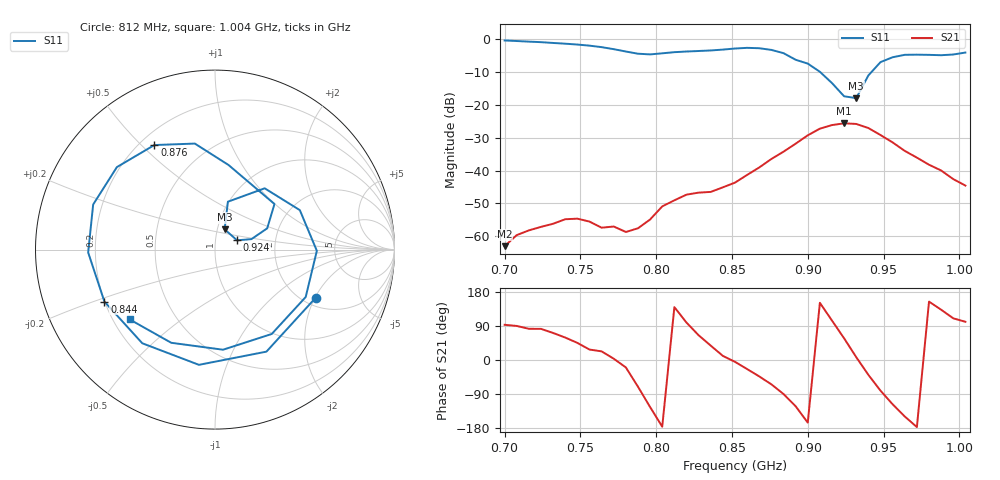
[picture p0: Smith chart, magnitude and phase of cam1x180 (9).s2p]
# Hz S RI R 50
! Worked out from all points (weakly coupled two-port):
!   39 points, 700 MHz to 1.004 GHz, reference 50 ohm
!   highest |S21| = -25.69 dB at 924 MHz (marker M1); lowest = -62.9 dB at 700 MHz (marker M2)
!   lowest |S11| = -18.0 dB at 932 MHz (marker M3), VSWR 1.29, Z = 54.2 + j12.5 ohm
!   |S11| at or under -10 dB: 907.8 MHz to 942.3 MHz (34.52 MHz wide, 3.73 % of centre)
!   S12 and S22 are empty: the file has one direction only
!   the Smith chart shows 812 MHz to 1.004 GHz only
!   S11 on the Smith chart (normalised r, x): 812 MHz: 2.33, -2.03; 844 MHz: 0.20, -0.21; 876 MHz: 0.26, +0.55; 924 MHz: 1.27, +0.13; 1.004 GHz: 0.27, -0.33
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7e8  0.7554 0.5537  -3.56e-05 0.000712  0 0  0 0
7.24e8  0.848 -0.2449  0.00019 0.00139  0 0  0 0
7.4e8  0.4577 -0.7004  0.000934 0.00157  0 0  0 0
7.56e8  -0.1901 -0.7577  0.00149 0.000778  0 0  0 0
7.72e8  -0.6609 -0.2017  0.00141 8.38e-05  0 0  0 0
7.8e8  -0.5979 0.219  0.0011 -0.000393  0 0  0 0
7.88e8  -0.2559 0.5309  0.000443 -0.00126  0 0  0 0
7.96e8  0.2296 0.5281  -0.00102 -0.0015  0 0  0 0
8.04e8  0.567 0.189  -0.00285 -0.000199  0 0  0 0
8.12e8  0.5619 -0.2671  -0.00269 0.00229  0 0  0 0
8.28e8  -0.0895 -0.642  0.00193 0.0042  0 0  0 0
8.44e8  -0.6162 -0.2896  0.00546 0.00104  0 0  0 0
8.52e8  -0.7067 -0.0159  0.00653 -0.000556  0 0  0 0
8.76e8  -0.338 0.5825  0.0065 -0.0135  0 0  0 0
9e8  0.3313 0.254  -0.033 -0.00869  0 0  0 0
9.08e8  0.2908 0.1184  -0.0377 0.0209  0 0  0 0
9.24e8  0.1229 0.0516  0.0282 0.0436  0 0  0 0
9.32e8  0.0537 0.1131  0.0504 0.00653  0 0  0 0
9.48e8  0.2769 0.3415  0.00543 -0.0341  0 0  0 0
9.56e8  0.4728 0.2198  -0.0121 -0.0238  0 0  0 0
9.8e8  0.3161 -0.4701  -0.011 0.00535  0 0  0 0
1.004e9  -0.4754 -0.389  -0.00111 0.0058  0 0  0 0
